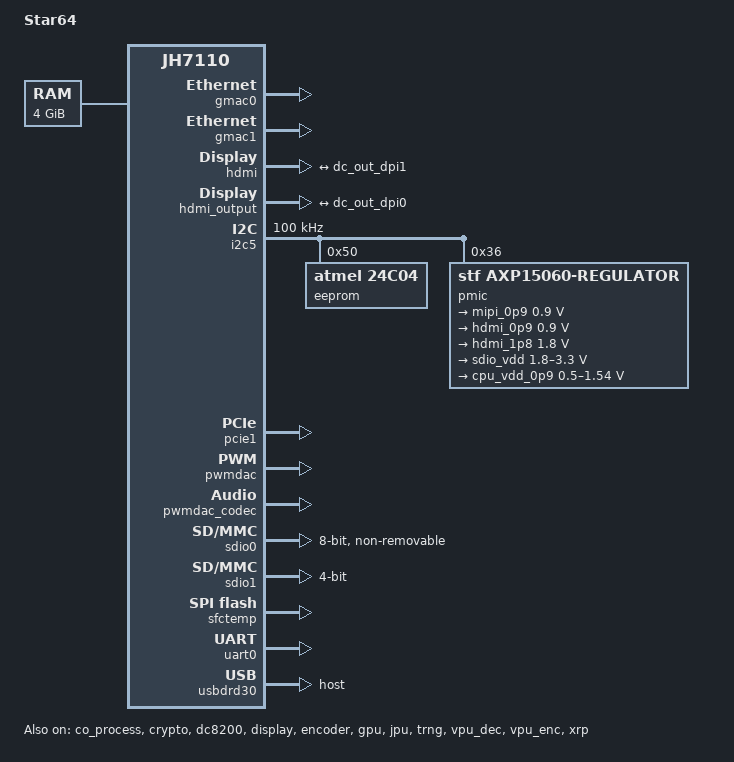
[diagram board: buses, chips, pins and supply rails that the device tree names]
// SPDX-License-Identifier: GPL-2.0 OR MIT
/*
 * Copyright (C) 2022 StarFive Technology Co., Ltd.
 * Copyright (C) 2022 Hal Feng <hal.feng@starfivetech.com>
 */

/dts-v1/;
#include <dt-bindings/gpio/gpio.h>
#include <dt-bindings/pinctrl/starfive,jh7110-pinfunc.h>
#include "jh7110.dtsi"
#include "codecs/sf_pwmdac.dtsi"

/ {
	model = "Star64";
	compatible = "pine64,star64", "starfive,jh7110";

	aliases {
		spi0 = &qspi;
		gpio0 = &gpio;
		ethernet0 = &gmac0;
		ethernet1 = &gmac1;
		mmc0 = &sdio0;
		mmc1 = &sdio1;
		serial0 = &uart0;
		serial3 = &uart3;
		i2c0 = &i2c0;
		i2c1 = &i2c1;
		i2c2 = &i2c2;
		i2c3 = &i2c3;
		i2c4 = &i2c4;
		i2c5 = &i2c5;
		i2c6 = &i2c6;
	};

	chosen {
		stdout-path = "serial0:115200";
		#bootargs = "debug console=ttyS0 rootwait";
	};

	cpus {
		timebase-frequency = <4000000>;
	};

	memory@40000000 {
		device_type = "memory";
		reg = <0x0 0x40000000 0x1 0x0>;
	};

	reserved-memory {
		#address-cells = <2>;
		#size-cells = <2>;
		ranges;

		linux,cma {
			compatible = "shared-dma-pool";
			reusable;
			size = <0x0 0x20000000>;
			alignment = <0x0 0x1000>;
			alloc-ranges = <0x0 0xa0000000 0x0 0x20000000>;
			linux,cma-default;
		};

		e24_mem: e24@c0000000 {
			no-map;
			reg = <0x0 0xc0110000 0x0 0xf0000>;
		};

		xrp_reserved: xrpbuffer@f0000000 {
			reg = <0x0 0xf0000000 0x0 0x01ffffff
				0x0 0xf2000000 0x0 0x00001000
				0x0 0xf2001000 0x0 0x00fff000
				0x0 0xf3000000 0x0 0x00001000>;
		};

	};

	dummy-panel {
		port {
			panel_dsi_port: endpoint {
				remote-endpoint = <&dsi_out_port>;
			};
		};
	};

};

&co_process {
	status = "okay";
};

&crypto {
	status = "okay";
};

&dc8200 {
	status = "okay";

	dc_out: port {
		#address-cells = <1>;
		#size-cells = <0>;
		dc_out_dpi0: endpoint@0 {
			reg = <0>;
			remote-endpoint = <&hdmi_input0>;
		};
		dc_out_dpi1: endpoint@1 {
			reg = <1>;
			remote-endpoint = <&hdmi_in_lcdc>;
		};

		dc_out_dpi2: endpoint@2 {
			reg = <2>;
			remote-endpoint = <&mipi_in>;
		};
	};
};

&display {
	status = "okay";
};

&dma {
	status = "okay";
};

&encoder {
	status = "okay";

	ports {
		#address-cells = <1>;
		#size-cells = <0>;

		port@0 {
			reg = <0>;
			mipi_in: endpoint {
				remote-endpoint = <&dc_out_dpi2>;
			};
		};

		port@1 {
			reg = <1>;
			mipi_out: endpoint {
				remote-endpoint = <&dsi_in_port>;
			};
		};
	};
};

&gmac0 {
	#address-cells = <1>;
	#size-cells = <0>;
	status = "okay";
	phy0: ethernet-phy@0 {
		rxc_dly_en = <1>;
		tx_delay_sel_fe = <5>;
		tx_delay_sel = <12>;
		rx_delay_sel = <1>;
	};
};

&gmac1 {
	#address-cells = <1>;
	#size-cells = <0>;
	status = "okay";
	phy1: ethernet-phy@1 {
		tx_delay_sel_fe = <5>;
		tx_delay_sel = <9>;
		rxc_dly_en = <0>;
	};
};

&gpio {
	uart0_pins: uart0-pins {
		uart0-pins-tx {
			sf,pins = <PAD_GPIO5>;
			sf,pin-ioconfig = <IO(GPIO_IE(1) | GPIO_DS(3))>;
			sf,pin-gpio-dout = <GPO_UART0_SOUT>;
			sf,pin-gpio-doen = <OEN_LOW>;
		};

		uart0-pins-rx {
			sf,pins = <PAD_GPIO6>;
			sf,pinmux = <PAD_GPIO6_FUNC_SEL 0>;
			sf,pin-ioconfig = <IO(GPIO_IE(1) | GPIO_PU(1))>;
			sf,pin-gpio-doen = <OEN_HIGH>;
			sf,pin-gpio-din =  <GPI_UART0_SIN>;
		};
	};

	mmc0_pins: mmc0-pins {
		 mmc0-pins-rest {
			sf,pins = <PAD_GPIO62>;
			sf,pinmux = <PAD_GPIO62_FUNC_SEL 0>;
			sf,pin-ioconfig = <IO(GPIO_IE(1) | (GPIO_PU(1)))>;
			sf,pin-gpio-dout = <GPO_SDIO0_RST_N>;
			sf,pin-gpio-doen = <OEN_LOW>;
		};
	};

	sdcard1_pins: sdcard1-pins {
		sdcard1-pins0 {
			sf,pins = <PAD_GPIO10>;
			sf,pinmux = <PAD_GPIO10_FUNC_SEL 0>;
			sf,pin-ioconfig = <IO(GPIO_IE(1) | (GPIO_PU(1)))>;
			sf,pin-gpio-dout = <GPO_SDIO1_CCLK_OUT>;
			sf,pin-gpio-doen = <OEN_LOW>;
		};

		sdcard1-pins1 {
			sf,pins = <PAD_GPIO9>;
			sf,pinmux = <PAD_GPIO9_FUNC_SEL 0>;
			sf,pin-ioconfig = <IO(GPIO_IE(1) | (GPIO_PU(1)))>;
			sf,pin-gpio-dout = <GPO_SDIO1_CCMD_OUT>;
			sf,pin-gpio-doen = <OEN_SDIO1_CCMD_OUT_EN>;
			sf,pin-gpio-din =  <GPI_SDIO1_CCMD_IN>;
		};

		sdcard1-pins2 {
			sf,pins = <PAD_GPIO11>;
			sf,pinmux = <PAD_GPIO11_FUNC_SEL 0>;
			sf,pin-ioconfig = <IO(GPIO_IE(1) | (GPIO_PU(1)))>;
			sf,pin-gpio-dout = <GPO_SDIO1_CDATA_OUT_0>;
			sf,pin-gpio-doen = <OEN_SDIO1_CDATA_OUT_EN_0>;
			sf,pin-gpio-din =  <GPI_SDIO1_CDATA_IN_0>;
		};

		sdcard1-pins3 {
			sf,pins = <PAD_GPIO12>;
			sf,pinmux = <PAD_GPIO12_FUNC_SEL 0>;
			sf,pin-ioconfig = <IO(GPIO_IE(1) | (GPIO_PU(1)))>;
			sf,pin-gpio-dout = <GPO_SDIO1_CDATA_OUT_1>;
			sf,pin-gpio-doen = <OEN_SDIO1_CDATA_OUT_EN_1>;
			sf,pin-gpio-din =  <GPI_SDIO1_CDATA_IN_1>;
		};

		sdcard1-pins4 {
			sf,pins = <PAD_GPIO7>;
			sf,pinmux = <PAD_GPIO7_FUNC_SEL 0>;
			sf,pin-ioconfig = <IO(GPIO_IE(1) | (GPIO_PU(1)))>;
			sf,pin-gpio-dout = <GPO_SDIO1_CDATA_OUT_2>;
			sf,pin-gpio-doen = <OEN_SDIO1_CDATA_OUT_EN_2>;
			sf,pin-gpio-din =  <GPI_SDIO1_CDATA_IN_2>;
		};

		sdcard1-pins5 {
			sf,pins = <PAD_GPIO8>;
			sf,pinmux = <PAD_GPIO8_FUNC_SEL 0>;
			sf,pin-ioconfig = <IO(GPIO_IE(1) | (GPIO_PU(1)))>;
			sf,pin-gpio-dout = <GPO_SDIO1_CDATA_OUT_3>;
			sf,pin-gpio-doen = <OEN_SDIO1_CDATA_OUT_EN_3>;
			sf,pin-gpio-din =  <GPI_SDIO1_CDATA_IN_3>;
		};
	};

	inno_hdmi_pins: inno_hdmi-pins {
		inno_hdmi-scl {
			sf,pins = <PAD_GPIO0>;
			sf,pin-ioconfig = <IO(GPIO_IE(1) | (GPIO_PU(1)))>;
			sf,pin-gpio-dout = <GPO_HDMI0_DDC_SCL_OUT>;
			sf,pin-gpio-doen = <OEN_HDMI0_DDC_SCL_OEN>;
			sf,pin-gpio-din =  <GPI_HDMI0_DDC_SCL_IN>;
		};

		inno_hdmi-sda {
			sf,pins = <PAD_GPIO1>;
			sf,pin-ioconfig = <IO(GPIO_IE(1) | (GPIO_PU(1)))>;
			sf,pin-gpio-dout = <GPO_HDMI0_DDC_SDA_OUT>;
			sf,pin-gpio-doen = <OEN_HDMI0_DDC_SDA_OEN>;
			sf,pin-gpio-din =  <GPI_HDMI0_DDC_SDA_IN>;
		};

		inno_hdmi-cec-pins {
			sf,pins = <PAD_GPIO14>;
			//sf,pinmux = <PAD_GPIO14_FUNC_SEL 0>;
			sf,pin-ioconfig = <IO(GPIO_IE(1) | (GPIO_PU(1)))>;
			sf,pin-gpio-doen = <OEN_HDMI0_CEC_SDA_OEN>;
			sf,pin-gpio-dout = <GPO_HDMI0_CEC_SDA_OUT>;
			sf,pin-gpio-din =  <GPI_HDMI0_CEC_SDA_IN>;
		};

		inno_hdmi-hpd-pins {
			sf,pins = <PAD_GPIO15>;
			//sf,pinmux = <PAD_GPIO15_FUNC_SEL 0>;
			sf,pin-ioconfig = <IO(GPIO_IE(1))>;
			sf,pin-gpio-doen = <OEN_HIGH>;
			sf,pin-gpio-din =  <GPI_HDMI0_HPD>;
		};
	};

	i2c5_pins: i2c5-pins {
		i2c5-pins-scl {
			sf,pins = <PAD_GPIO19>;
			sf,pinmux = <PAD_GPIO19_FUNC_SEL 0>;
			sf,pin-ioconfig = <IO(GPIO_IE(1) | (GPIO_PU(1)))>;
			sf,pin-gpio-dout = <GPO_LOW>;
			sf,pin-gpio-doen = <OEN_I2C5_IC_CLK_OE>;
			sf,pin-gpio-din =  <GPI_I2C5_IC_CLK_IN_A>;
		};

		i2c5-pins-sda {
			sf,pins = <PAD_GPIO20>;
			sf,pinmux = <PAD_GPIO20_FUNC_SEL 0>;
			sf,pin-ioconfig = <IO(GPIO_IE(1) | (GPIO_PU(1)))>;
			sf,pin-gpio-dout = <GPO_LOW>;
			sf,pin-gpio-doen = <OEN_I2C5_IC_DATA_OE>;
			sf,pin-gpio-din =  <GPI_I2C5_IC_DATA_IN_A>;
		};
	};

	pwmdac0_pins: pwmdac0-pins {
		pwmdac0-pins-left {
			sf,pins = <PAD_GPIO33>;
			sf,pinmux = <PAD_GPIO33_FUNC_SEL 0>;
			sf,pin-ioconfig = <IO(GPIO_IE(1) | (GPIO_PU(1)))>;
			sf,pin-gpio-dout = <GPO_PWMDAC0_LEFT_OUTPUT>;
			sf,pin-gpio-doen = <OEN_LOW>;
		};

		pwmdac0-pins-right {
			sf,pins = <PAD_GPIO34>;
			sf,pinmux = <PAD_GPIO34_FUNC_SEL 0>;
			sf,pin-ioconfig = <IO(GPIO_IE(1) | (GPIO_PU(1)))>;
			sf,pin-gpio-dout = <GPO_PWMDAC0_RIGHT_OUTPUT>;
			sf,pin-gpio-doen = <OEN_LOW>;
		};
	};

	pcie1_perst_default: pcie1_perst_default {
		perst-pins {
			sf,pins = <PAD_GPIO28>;
			sf,pinmux = <PAD_GPIO28_FUNC_SEL 0>;
			sf,pin-ioconfig = <IO(GPIO_IE(1))>;
			sf,pin-gpio-dout = <GPO_HIGH>;
			sf,pin-gpio-doen = <OEN_LOW>;
		};
	};

	pcie1_perst_active: pcie1_perst_active {
		perst-pins {
			sf,pins = <PAD_GPIO28>;
			sf,pinmux = <PAD_GPIO28_FUNC_SEL 0>;
			sf,pin-ioconfig = <IO(GPIO_IE(1))>;
			sf,pin-gpio-dout = <GPO_LOW>;
			sf,pin-gpio-doen = <OEN_LOW>;
		};
	};

	pcie1_wake_default: pcie1_wake_default {
		wake-pins {
			sf,pins = <PAD_GPIO26>;
			sf,pinmux = <PAD_GPIO26_FUNC_SEL 0>;
			sf,pin-ioconfig = <IO(GPIO_IE(1))>;
			sf,pin-gpio-doen = <OEN_HIGH>;
		};
	};

	pcie1_clkreq_default: pcie1_clkreq_default {
		clkreq-pins {
			sf,pins = <PAD_GPIO21>;
			sf,pinmux = <PAD_GPIO21_FUNC_SEL 0>;
			sf,pin-ioconfig = <IO(GPIO_IE(1))>;
			sf,pin-gpio-doen = <OEN_HIGH>;
		};
	};

	usb_pins: usb-pins {
		drive-vbus-pin {
			sf,pins = <PAD_GPIO25>;
			sf,pinmux = <PAD_GPIO25_FUNC_SEL 0>;
			sf,pin-ioconfig = <IO(GPIO_IE(1))>;
			sf,pin-gpio-dout = <GPO_USB0_DRIVE_VBUS_IO>;
			sf,pin-gpio-doen = <OEN_LOW>;
		};
	};
};

&gpu {
	status = "okay";
};

&hdmi {
	status = "okay";
	pinctrl-names = "default";
	pinctrl-0 = <&inno_hdmi_pins>;

	hdmi_in: port {
		#address-cells = <1>;
		#size-cells = <0>;
		hdmi_in_lcdc: endpoint@0 {
			reg = <0>;
			remote-endpoint = <&dc_out_dpi1>;
		};
	};
};

&hdmi_output {
	status = "okay";

	ports {
		#address-cells = <1>;
		#size-cells = <0>;
		port@0 {
			#address-cells = <1>;
			#size-cells = <0>;
			reg = <0>;
			hdmi_input0:endpoint@0 {
				reg = <0>;
				remote-endpoint = <&dc_out_dpi0>;
			};
		};
	};
};

&i2c5 {
	clock-frequency = <100000>;
	i2c-sda-hold-time-ns = <300>;
	i2c-sda-falling-time-ns = <510>;
	i2c-scl-falling-time-ns = <510>;
	auto_calc_scl_lhcnt;
	pinctrl-names = "default";
	pinctrl-0 = <&i2c5_pins>;
	status = "okay";

	eeprom@50 {
		compatible = "atmel,24c04";
		reg = <0x50>;
		pagesize = <16>;
	};

	pmic: axp15060_reg@36 {
		compatible = "stf,axp15060-regulator";
		reg = <0x36>;

		regulators {
			mipi_0p9: ALDO1 {
				regulator-boot-on;
				regulator-compatible = "mipi_0p9";
				regulator-name = "mipi_0p9";
				regulator-min-microvolt = <900000>;
				regulator-max-microvolt = <900000>;
			};
			hdmi_0p9: ALDO5 {
				regulator-boot-on;
				regulator-compatible = "hdmi_0p9";
				regulator-name = "hdmi_0p9";
				regulator-min-microvolt = <900000>;
				regulator-max-microvolt = <900000>;
			};
			hdmi_1p8: ALDO3 {
				regulator-boot-on;
				regulator-compatible = "hdmi_1p8";
				regulator-name = "hdmi_1p8";
				regulator-min-microvolt = <1800000>;
				regulator-max-microvolt = <1800000>;
			};
			sdio_vdd: ALDO4 {
				regulator-boot-on;
				regulator-compatible = "sdio_vdd";
				regulator-name = "sdio_vdd";
				regulator-min-microvolt = <1800000>;
				regulator-max-microvolt = <3300000>;
			};
			cpu_vdd_0p9: DCDC2 {
				regulator-boot-on;
				regulator-always-on;
				regulator-compatible = "cpu_vdd_0p9";
				regulator-name = "cpu_vdd_0p9";
				regulator-min-microvolt = <500000>;
				regulator-max-microvolt = <1540000>;
			};
		};
	};
};

&jpu {
	status = "okay";
};

&mailbox_contrl0 {
	status = "okay";
};

&mailbox_client0 {
	status = "okay";
};

&pcie1 {
	pinctrl-names = "default", "perst-default", "perst-active";
	pinctrl-0 = <&pcie1_wake_default>,
		    <&pcie1_clkreq_default>;
	pinctrl-1 = <&pcie1_perst_default>;
	pinctrl-2 = <&pcie1_perst_active>;
	status = "okay";
};

&pwmdac {
	pinctrl-names = "default";
	pinctrl-0 = <&pwmdac0_pins>;
	status = "okay";
};

&pwmdac_codec {
	status = "okay";
};

&sdio0 {
	pinctrl-names = "default";
	pinctrl-0 = <&mmc0_pins>;
	clock-frequency = <102400000>;
	max-frequency = <100000000>;
	card-detect-delay = <300>;
	bus-width = <8>;
	cap-mmc-highspeed;
	mmc-hs400-1_8v;
	mmc-hs400-enhanced-strobe;
	non-removable;
	cap-mmc-hw-reset;
	post-power-on-delay-ms = <200>;
	vqmmc-supply = <&sdio_vdd>;
	status = "okay";
};

&sdio1 {
	pinctrl-names = "default";
	pinctrl-0 = <&sdcard1_pins>;
	//cd-gpios = <&gpio 41 0>;
	clock-frequency = <102400000>;
	max-frequency = <200000000>;
	card-detect-delay = <300>;
	bus-width = <4>;
	broken-cd;
	cap-sd-highspeed;
	post-power-on-delay-ms = <200>;
	status = "okay";
};

&sec_dma {
	status = "okay";
};

&sfctemp {
	status = "okay";
};

&trng {
	status = "okay";
};

&uart0 {
	pinctrl-names = "default";
	pinctrl-0 = <&uart0_pins>;
	status = "okay";
};

&usbdrd30 {
	pinctrl-names = "default";
	pinctrl-0 = <&usb_pins>;
	dr_mode = "host";
	status = "okay";
};

&vpu_dec {
	status = "okay";
};

&vpu_enc {
	status = "okay";
};

&xrp {
	status = "okay";
};
